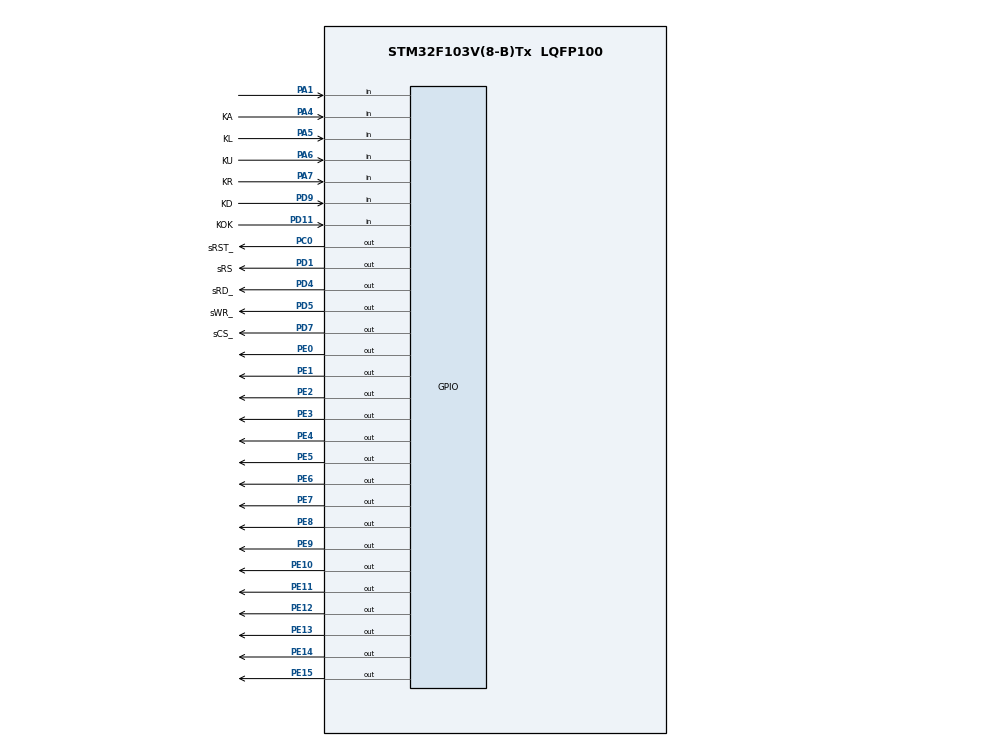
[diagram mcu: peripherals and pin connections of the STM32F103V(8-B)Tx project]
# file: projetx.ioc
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Mcu.Family=STM32F1
Mcu.Name=STM32F103V(8-B)Tx
Mcu.Package=LQFP100
NVIC.PriorityGroup=NVIC_PRIORITYGROUP_4
PA1.Signal=GPIO_Input
PA13.Mode=Trace_Asynchronous_SW
PA13.Signal=SYS_JTMS-SWDIO
PA14.Mode=Trace_Asynchronous_SW
PA14.Signal=SYS_JTCK-SWCLK
PA4.GPIO_Label=KA
PA4.Signal=GPIO_Input
PA5.GPIO_Label=KL
PA5.Signal=GPIO_Input
PA6.GPIO_Label=KU
PA6.Signal=GPIO_Input
PA7.GPIO_Label=KR
PA7.Signal=GPIO_Input
PB3.Mode=Trace_Asynchronous_SW
PB3.Signal=SYS_JTDO-TRACESWO
PC0.GPIO_Label=sRST_
PC0.Signal=GPIO_Output
PD1.GPIO_Label=sRS
PD1.Signal=GPIO_Output
PD11.GPIO_Label=KOK
PD11.Signal=GPIO_Input
PD4.GPIO_Label=sRD_
PD4.Signal=GPIO_Output
PD5.GPIO_Label=sWR_
PD5.Signal=GPIO_Output
PD7.GPIO_Label=sCS_
PD7.Signal=GPIO_Output
PD9.GPIO_Label=KD
PD9.Signal=GPIO_Input
PE0.Signal=GPIO_Output
PE1.Signal=GPIO_Output
PE10.Signal=GPIO_Output
PE11.Signal=GPIO_Output
PE12.Signal=GPIO_Output
PE13.Signal=GPIO_Output
PE14.Signal=GPIO_Output
PE15.Signal=GPIO_Output
PE2.Signal=GPIO_Output
PE3.Signal=GPIO_Output
PE4.Signal=GPIO_Output
PE5.Signal=GPIO_Output
PE6.Signal=GPIO_Output
PE7.Signal=GPIO_Output
PE8.Signal=GPIO_Output
PE9.Signal=GPIO_Output
ProjectManager.HeapSize=0x200
ProjectManager.StackSize=0x400
ProjectManager.TargetToolchain=STM32CubeIDE
RCC.APB1Freq_Value=8000000
RCC.APB2Freq_Value=8000000
board=custom

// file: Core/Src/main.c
/* USER CODE BEGIN Header */
/**
  ******************************************************************************
  * @file           : main.c
  * @brief          : Main program body
  ******************************************************************************
  * @attention
  *
  * Copyright (c) 2022 STMicroelectronics.
  * All rights reserved.
  *
  * This software is licensed under terms that can be found in the LICENSE file
  * in the root directory of this software component.
  * If no LICENSE file comes with this software, it is provided AS-IS.
  *
  ******************************************************************************
  */
/* USER CODE END Header */
#include "main.h"

/* USER CODE BEGIN Includes */
#include "screen.h"
#include "drawing.h"
#include "snake.h"
#include "random2.h"
/* USER CODE END Includes */

void SystemClock_Config(void);
static void MX_GPIO_Init(void);

int main(void)
{

  /* MCU Configuration--------------------------------------------------------*/

  /* Reset of all peripherals, Initializes the Flash interface and the Systick. */
  HAL_Init();

  /* Configure the system clock */
  SystemClock_Config();

  /* Initialize all configured peripherals */
  MX_GPIO_Init();
  /* USER CODE BEGIN 2 */
  screen_init();
  int wait = 0;
  snake_t snek;
  int pressed = 0;
game:
  draw_background();
  //draw_string(0, 0, "Hello, world!");
  draw_menu(0);
  if (get_score())
  	  draw_string(3, 3, "Last score:");

  snake_reset_score();
  snek.tail = 0;
  snek.head = 1;
  snek.dir = 0;
  snek.to_grow = 0;
  snek.parts[0].x = 30;
  snek.parts[0].y = 30;
  snek.parts[1].x = 2;
  snek.parts[1].y = 2;
  snek.cx = 2;
  snek.cy = 1;

  while (HAL_GPIO_ReadPin(GPIOD, KOK_Pin)) {
	  HAL_Delay(10);
	  wait++;
  }
  xorshift_set_state(wait);
  snake_reset_score(0);
  //draw_score(snake_score);

  erase_menu();
  draw_header();
  HAL_Delay(500);
  //screen_param(0)
  /* USER CODE END 2 */

  /* Infinite loop */
  while (1)
  {
	  //if (!HAL_GPIO_ReadPin(GPIOD, KOK_Pin))
		//  snek.to_grow = 1;

	  if (!HAL_GPIO_ReadPin(GPIOD, KD_Pin)) {
		  if (!pressed) {
		  			  snek.dir++;
		  			  if (snek.dir >= 4)
		  				  snek.dir = 0;
		  			  pressed = 1;
		  		  }
	  } else
	  //if (!HAL_GPIO_ReadPin(GPIOA, KR_Pin) && snek.dir != 3)
		//  snek.dir = 1;
	  if (!HAL_GPIO_ReadPin(GPIOA, KU_Pin))  {
		  if (!pressed) {
		  			  snek.dir--;
		  			  if (snek.dir >= 4)
		  				  snek.dir = 3;
		  			  pressed = 1;
		  		  }
	  } else pressed = 0;

	  //if (!HAL_GPIO_ReadPin(GPIOA, KL_Pin) && snek.dir != 1)
		//  snek.dir = 3;

	  if (snake_update(&snek))
		  goto game;

	  HAL_Delay(50);
  }
}

void SystemClock_Config(void)
{
  RCC_OscInitTypeDef RCC_OscInitStruct = {0};
  RCC_ClkInitTypeDef RCC_ClkInitStruct = {0};

  /** Initializes the RCC Oscillators according to the specified parameters
  * in the RCC_OscInitTypeDef structure.
  */
  RCC_OscInitStruct.OscillatorType = RCC_OSCILLATORTYPE_HSI;
  RCC_OscInitStruct.HSIState = RCC_HSI_ON;
  RCC_OscInitStruct.HSICalibrationValue = RCC_HSICALIBRATION_DEFAULT;
  RCC_OscInitStruct.PLL.PLLState = RCC_PLL_NONE;
  if (HAL_RCC_OscConfig(&RCC_OscInitStruct) != HAL_OK)
  {
    Error_Handler();
  }

  /** Initializes the CPU, AHB and APB buses clocks
  */
  RCC_ClkInitStruct.ClockType = RCC_CLOCKTYPE_HCLK|RCC_CLOCKTYPE_SYSCLK
                              |RCC_CLOCKTYPE_PCLK1|RCC_CLOCKTYPE_PCLK2;
  RCC_ClkInitStruct.SYSCLKSource = RCC_SYSCLKSOURCE_HSI;
  RCC_ClkInitStruct.AHBCLKDivider = RCC_SYSCLK_DIV1;
  RCC_ClkInitStruct.APB1CLKDivider = RCC_HCLK_DIV1;
  RCC_ClkInitStruct.APB2CLKDivider = RCC_HCLK_DIV1;

  if (HAL_RCC_ClockConfig(&RCC_ClkInitStruct, FLASH_LATENCY_0) != HAL_OK)
  {
    Error_Handler();
  }
}

static void MX_GPIO_Init(void)
{
  GPIO_InitTypeDef GPIO_InitStruct = {0};

  /* GPIO Ports Clock Enable */
  __HAL_RCC_GPIOE_CLK_ENABLE();
  __HAL_RCC_GPIOC_CLK_ENABLE();
  __HAL_RCC_GPIOA_CLK_ENABLE();
  __HAL_RCC_GPIOD_CLK_ENABLE();
  __HAL_RCC_GPIOB_CLK_ENABLE();

  /*Configure GPIO pin Output Level */
  HAL_GPIO_WritePin(GPIOE, GPIO_PIN_2|GPIO_PIN_3|GPIO_PIN_4|GPIO_PIN_5
                          |GPIO_PIN_6|GPIO_PIN_7|GPIO_PIN_8|GPIO_PIN_9
                          |GPIO_PIN_10|GPIO_PIN_11|GPIO_PIN_12|GPIO_PIN_13
                          |GPIO_PIN_14|GPIO_PIN_15|GPIO_PIN_0|GPIO_PIN_1, GPIO_PIN_RESET);

  /*Configure GPIO pin Output Level */
  HAL_GPIO_WritePin(sRST__GPIO_Port, sRST__Pin, GPIO_PIN_RESET);

  /*Configure GPIO pin Output Level */
  HAL_GPIO_WritePin(GPIOD, sRS_Pin|sRD__Pin|sWR__Pin|sCS__Pin, GPIO_PIN_RESET);

  /*Configure GPIO pins : PE2 PE3 PE4 PE5
                           PE6 PE7 PE8 PE9
                           PE10 PE11 PE12 PE13
                           PE14 PE15 PE0 PE1 */
  GPIO_InitStruct.Pin = GPIO_PIN_2|GPIO_PIN_3|GPIO_PIN_4|GPIO_PIN_5
                          |GPIO_PIN_6|GPIO_PIN_7|GPIO_PIN_8|GPIO_PIN_9
                          |GPIO_PIN_10|GPIO_PIN_11|GPIO_PIN_12|GPIO_PIN_13
                          |GPIO_PIN_14|GPIO_PIN_15|GPIO_PIN_0|GPIO_PIN_1;
  GPIO_InitStruct.Mode = GPIO_MODE_OUTPUT_PP;
  GPIO_InitStruct.Pull = GPIO_NOPULL;
  GPIO_InitStruct.Speed = GPIO_SPEED_FREQ_LOW;
  HAL_GPIO_Init(GPIOE, &GPIO_InitStruct);

  /*Configure GPIO pin : sRST__Pin */
  GPIO_InitStruct.Pin = sRST__Pin;
  GPIO_InitStruct.Mode = GPIO_MODE_OUTPUT_PP;
  GPIO_InitStruct.Pull = GPIO_NOPULL;
  GPIO_InitStruct.Speed = GPIO_SPEED_FREQ_LOW;
  HAL_GPIO_Init(sRST__GPIO_Port, &GPIO_InitStruct);

  /*Configure GPIO pins : PA1 KA_Pin KL_Pin KU_Pin
                           KR_Pin */
  GPIO_InitStruct.Pin = GPIO_PIN_1|KA_Pin|KL_Pin|KU_Pin
                          |KR_Pin;
  GPIO_InitStruct.Mode = GPIO_MODE_INPUT;
  GPIO_InitStruct.Pull = GPIO_PULLUP;
  HAL_GPIO_Init(GPIOA, &GPIO_InitStruct);

  /*Configure GPIO pins : KD_Pin KOK_Pin */
  GPIO_InitStruct.Pin = KD_Pin|KOK_Pin;
  GPIO_InitStruct.Mode = GPIO_MODE_INPUT;
  GPIO_InitStruct.Pull = GPIO_PULLUP;
  HAL_GPIO_Init(GPIOD, &GPIO_InitStruct);

  /*Configure GPIO pins : sRS_Pin sRD__Pin sWR__Pin sCS__Pin */
  GPIO_InitStruct.Pin = sRS_Pin|sRD__Pin|sWR__Pin|sCS__Pin;
  GPIO_InitStruct.Mode = GPIO_MODE_OUTPUT_PP;
  GPIO_InitStruct.Pull = GPIO_NOPULL;
  GPIO_InitStruct.Speed = GPIO_SPEED_FREQ_LOW;
  HAL_GPIO_Init(GPIOD, &GPIO_InitStruct);

}

void Error_Handler(void)
{
  __disable_irq();
  while (1)
  {
  }
}
